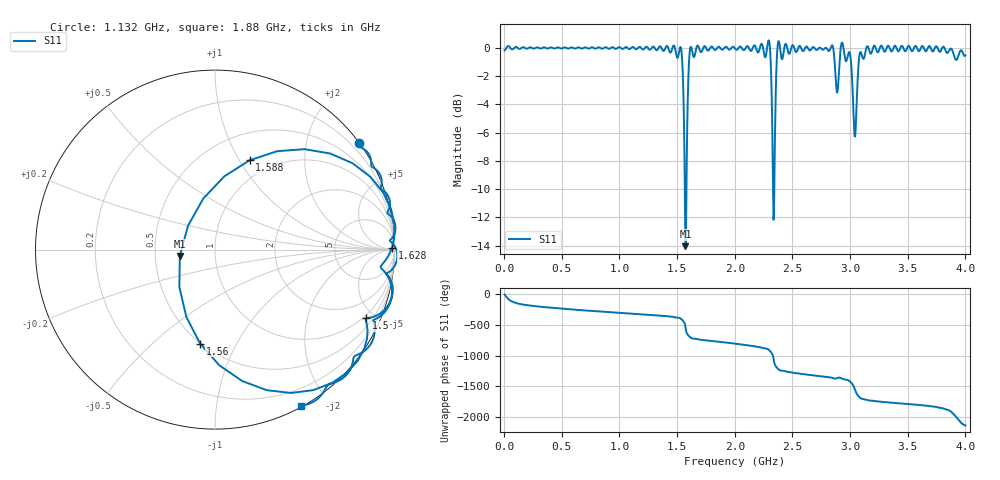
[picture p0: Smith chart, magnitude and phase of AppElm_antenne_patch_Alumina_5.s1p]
! TOUCHSTONE file generated by CST MICROWAVE STUDIO
! Date and time: Thu Jun  9 09:30:38 2022
! Project name: AppElm_antenne_patch_Alumina.cst
! Parameters = {L=30.5; W=41.8; e=0.035; h=1.6; lambda=0.190476; ls=90; w0=1.12; w1=0.3543; ws=90; y0=14; y1=10}
! Header version: 2018
! Port assignment regex: !\s*Touchstone port\s*([0-9]+)\s*=\s*(CST MWS port|CST DS port)\s*([0-9]+|Zmin|Zmax)\s*\(\"(.*)\"\)(\s*mode\s*([0-9]+))?.*
! Touchstone port assignment:
! Touchstone port 1 = CST MWS port 1 ("")
# GHz S MA R 50
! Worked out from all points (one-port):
!   1000 points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, 4 MHz to 4 GHz, reference 50 ohm
!   lowest |S11| = -14.0 dB at 1.572 GHz (marker M1), VSWR 1.50, Z = 33.6 - j2.44 ohm
!   |S11| at or under -10 dB: 1.567 GHz to 1.581 GHz (14 MHz wide, 0.89 % of centre); 2.332319 GHz to 2.342611 GHz (10.29 MHz wide, 0.44 % of centre)
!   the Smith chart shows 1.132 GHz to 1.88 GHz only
!   S11 on the Smith chart (normalised r, x): 1.132 GHz: 0.01, +3.01; 1.5 GHz: 0.85, -4.47; 1.56 GHz: 0.50, -0.72; 1.588 GHz: 0.80, +1.11; 1.628 GHz: open; 1.88 GHz: 0.01, -1.69
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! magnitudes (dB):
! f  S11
! 4 MHz  -0.2
! 504 MHz  0.0
! 1.004 GHz  0.0
! 1.132 GHz  0.0
! 1.5 GHz  -0.7
! 1.504 GHz  -0.7
! 1.536 GHz  -0.1
! 1.56 GHz  -5.5
! 1.572 GHz  -14.0
! 1.588 GHz  -5.5
! 1.608 GHz  -0.4
! 1.628 GHz  -0.1
! 1.88 GHz  -0.1
! 2.004 GHz  -0.1
! 2.292 GHz  0.5
! 2.336 GHz  -12.2
! 2.348 GHz  -6.5
! 2.368 GHz  -0.2
! 2.38 GHz  0.5
! 2.504 GHz  0.2
! 2.84 GHz  0.2
! 2.888 GHz  -3.2
! 2.932 GHz  0.4
! 3.004 GHz  -0.7
! 3.04 GHz  -6.3
! 3.096 GHz  -0.3
! 3.504 GHz  0.1
! 4 GHz  -0.5
